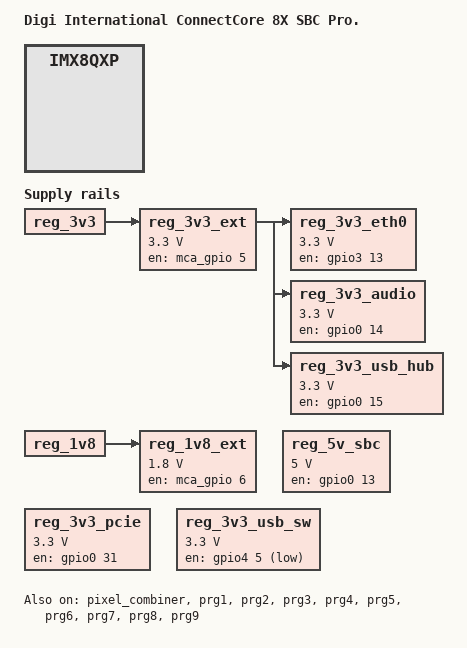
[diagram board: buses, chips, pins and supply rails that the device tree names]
/*
 * Copyright 2018, Digi International Inc.
 *
 * Permission to use, copy, modify, and/or distribute this software for any
 * purpose with or without fee is hereby granted, provided that the above
 * copyright notice and this permission notice appear in all copies.
 * THE SOFTWARE IS PROVIDED "AS IS" AND THE AUTHOR DISCLAIMS ALL WARRANTIES
 * WITH REGARD TO THIS SOFTWARE INCLUDING ALL IMPLIED WARRANTIES OF
 * MERCHANTABILITY AND FITNESS. IN NO EVENT SHALL THE AUTHOR BE LIABLE FOR
 * ANY SPECIAL, DIRECT, INDIRECT, OR CONSEQUENTIAL DAMAGES OR ANY DAMAGES
 * WHATSOEVER RESULTING FROM LOSS OF USE, DATA OR PROFITS, WHETHER IN AN
 * ACTION OF CONTRACT, NEGLIGENCE OR OTHER TORTIOUS ACTION, ARISING OUT OF
 * OR IN CONNECTION WITH THE USE OR PERFORMANCE OF THIS SOFTWARE.
 */

/ {
	model = "Digi International ConnectCore 8X SBC Pro.";
	compatible = "digi,ccimx8x-sbc-pro", "digi,ccimx8x", "fsl,imx8qxp";
	digi,machine,name = "ccimx8x-sbc-pro";

	chosen {
		bootargs = "console=ttyLP2,115200 earlycon=lpuart32,0x5a080000,115200";
		stdout-path = &lpuart2;
	};

	lvds_backlight0: lvds_backlight@0 {
		compatible = "pwm-backlight";
		pwms = <&pwm_mipi_lvds0 0 100000 0>;

		brightness-levels = < 0  1  2  3  4  5  6  7  8  9
				     10 11 12 13 14 15 16 17 18 19
				     20 21 22 23 24 25 26 27 28 29
				     30 31 32 33 34 35 36 37 38 39
				     40 41 42 43 44 45 46 47 48 49
				     50 51 52 53 54 55 56 57 58 59
				     60 61 62 63 64 65 66 67 68 69
				     70 71 72 73 74 75 76 77 78 79
				     80 81 82 83 84 85 86 87 88 89
				     90 91 92 93 94 95 96 97 98 99
				    100>;
		default-brightness-level = <80>;
		power-supply = <&reg_5v_sbc>;
		status = "disabled";
	};

	lvds_backlight1: lvds_backlight@1 {
		compatible = "pwm-backlight";
		pwms = <&pwm_mipi_lvds1 0 100000 0>;

		brightness-levels = < 0  1  2  3  4  5  6  7  8  9
				     10 11 12 13 14 15 16 17 18 19
				     20 21 22 23 24 25 26 27 28 29
				     30 31 32 33 34 35 36 37 38 39
				     40 41 42 43 44 45 46 47 48 49
				     50 51 52 53 54 55 56 57 58 59
				     60 61 62 63 64 65 66 67 68 69
				     70 71 72 73 74 75 76 77 78 79
				     80 81 82 83 84 85 86 87 88 89
				     90 91 92 93 94 95 96 97 98 99
				    100>;
		default-brightness-level = <80>;
		power-supply = <&reg_5v_sbc>;
		status = "disabled";
	};

	regulators {
		compatible = "simple-bus";
		#address-cells = <1>;
		#size-cells = <0>;

		reg_3v3_ext: regulator@1 {
			compatible = "regulator-fixed";
			reg = <1>;
			regulator-name = "3v3_ext";
			regulator-min-microvolt = <3300000>;
			regulator-max-microvolt = <3300000>;
			gpio = <&mca_gpio 5 GPIO_ACTIVE_HIGH>;
			enable-active-high;
			vin-supply = <&reg_3v3>;
		};

		reg_1v8_ext: regulator@2 {
			compatible = "regulator-fixed";
			reg = <2>;
			regulator-name = "1v8_ext";
			regulator-min-microvolt = <1800000>;
			regulator-max-microvolt = <1800000>;
			gpio = <&mca_gpio 6 GPIO_ACTIVE_HIGH>;
			enable-active-high;
			vin-supply = <&reg_1v8>;
		};

		reg_3v3_eth0: regulator@3 {
			pinctrl-names = "default", "sleep";
			pinctrl-0 = <&pinctrl_reg_3v3_eth0>;
			pinctrl-1 = <&pinctrl_reg_3v3_eth0_sleep>;
			compatible = "regulator-fixed";
			reg = <3>;
			regulator-name = "3v3_eth0";
			regulator-min-microvolt = <3300000>;
			regulator-max-microvolt = <3300000>;
			gpio = <&gpio3 13 GPIO_ACTIVE_HIGH>;
			enable-active-high;
			startup-delay-us = <10000>;
			vin-supply = <&reg_3v3_ext>;
		};

		reg_5v_sbc: regulator@4 {
			compatible = "regulator-fixed";
			reg = <4>;
			pinctrl-names = "default";
			pinctrl-0 = <&pinctrl_reg_5v_sbc>;
			regulator-name = "5v_display";
			regulator-min-microvolt = <5000000>;
			regulator-max-microvolt = <5000000>;
			gpio = <&gpio0 13 GPIO_ACTIVE_HIGH>;
			enable-active-high;
		};

		reg_3v3_audio: regulator@5 {
			compatible = "regulator-fixed";
			reg = <5>;
			pinctrl-names = "default";
			pinctrl-0 = <&pinctrl_reg_3v3_aud>;
			regulator-name = "3v3_audio";
			regulator-min-microvolt = <3300000>;
			regulator-max-microvolt = <3300000>;
			gpio = <&gpio0 14 GPIO_ACTIVE_HIGH>;
			enable-active-high;
			startup-delay-us = <1000>;
			vin-supply = <&reg_3v3_ext>;
		};

		reg_3v3_pcie: regulator@6 {
			compatible = "regulator-fixed";
			reg = <6>;
			regulator-name = "vcc";
			regulator-min-microvolt = <3300000>;
			regulator-max-microvolt = <3300000>;
			gpio = <&gpio0 31 GPIO_ACTIVE_HIGH>; /* PCIE_VCC_EN */
			enable-active-high;
			startup-delay-us = <100000>;
		};

		reg_3v3_usb_hub: regulator@7 {
			compatible = "regulator-fixed";
			reg = <7>;
			pinctrl-names = "default";
			pinctrl-0 = <&pinctrl_reg_3v3_usb_hub>;
			regulator-name = "3v3_usb_hub";
			regulator-min-microvolt = <3300000>;
			regulator-max-microvolt = <3300000>;
			gpio = <&gpio0 15 GPIO_ACTIVE_HIGH>;
			enable-active-high;
			vin-supply = <&reg_3v3_ext>;
		};

		reg_3v3_usb_sw: regulator@8 {
			compatible = "regulator-fixed";
			reg = <8>;
			pinctrl-names = "default";
			pinctrl-0 = <&pinctrl_reg_3v3_usb_sw>;
			regulator-name = "3v3_usb_sw";
			regulator-min-microvolt = <3300000>;
			regulator-max-microvolt = <3300000>;
			gpio = <&gpio4 5 GPIO_ACTIVE_LOW>;
		};
	};

	sound_max98089: sound-max98089 {
		compatible = "fsl,imx-audio-max98088";
		model = "imx-max98088";
		cpu-dai = <&sai0>;
		audio-codec = <&max98089>;
		asrc-controller = <&asrc0>;
		audio-routing =
			"Headphone Jack", "HPL",
			"Headphone Jack", "HPR",
			"Ext Spk", "SPKL",
			"Ext Spk", "SPKR",
			"LineOut", "RECL",
			"LineOut", "RECR",
			"Mic1", "MIC1",
			"Mic2", "MIC2",
			"LineInA", "INA1",
			"LineInA", "INA2",
			"LineInB", "INB1",
			"LineInB", "INB2";
		status = "disabled";
	};
};

&asrc0 {
	fsl,asrc-rate  = <48000>;
};

&fec1 {
	pinctrl-names = "default", "sleep";
	pinctrl-0 = <&pinctrl_fec_mdio>,
		    <&pinctrl_fec1_gpio>,
		    <&pinctrl_fec1>;
	pinctrl-1 = <&pinctrl_fec1_gpio_sleep>;
	phy-mode = "rgmii-id";
	phy-handle = <&ethphy1>;
	digi,mdio-lt-supply = <&reg_1v8_ext>;
	phy-supply = <&reg_3v3_eth0>;
	phy-reset-gpios = <&gpio3 18 GPIO_ACTIVE_LOW>;
	phy-reset-duration = <1>;
	digi,phy-reset-in-suspend;
	fsl,magic-packet;
	status = "disabled";

	mdio {
		#address-cells = <1>;
		#size-cells = <0>;

		ethphy0: ethernet-phy@0 {
			compatible = "ethernet-phy-ieee802.3-c22";
			reg = <0>;
			at803x,eee-disabled;
			at803x,vddio-1p8v;
		};

		ethphy1: ethernet-phy@1 {
			compatible = "ethernet-phy-ieee802.3-c22";
			reg = <1>;
			at803x,eee-disabled;
			at803x,vddio-1p8v;
		};
	};
};

&fec2 {
	pinctrl-names = "default", "sleep";
	pinctrl-0 = <&pinctrl_fec2_gpio>,
		    <&pinctrl_fec2>;
	pinctrl-1 = <&pinctrl_fec2_gpio_sleep>;
	phy-mode = "rgmii-id";
	phy-handle = <&ethphy0>;
	digi,mdio-lt-supply = <&reg_1v8_ext>;
	phy-supply = <&reg_3v3_eth0>;
	phy-reset-gpios = <&gpio3 22 GPIO_ACTIVE_LOW>;
	phy-reset-duration = <1>;
	digi,phy-reset-in-suspend;
	fsl,magic-packet;
	status = "disabled";
};

/*
 * CAN0
 * Conflicts with LPUART0 RTS/CTS lines.
 * Before enabling the port you need to configure
 * lpuart0 node as 2 wires.
 */
&flexcan1 {
	pinctrl-names = "default";
	pinctrl-0 = <&pinctrl_flexcan1>;
	xceiver-supply = <&reg_5v_sbc>;
	status = "disabled";
};

/* CAN1 on expansion header */
&flexcan2 {
	pinctrl-names = "default";
	pinctrl-0 = <&pinctrl_flexcan2>;
	xceiver-supply = <&reg_5v_sbc>;
	stby-gpios = <&gpio1 0 GPIO_ACTIVE_HIGH>;
	status = "disabled";
};

/*
 * CAN2 on expansion header.
 * Conflicts with LPUART3 RX/TX lines.
 * Requires signal CAN/RS485# (GPIO3_IO23) to be driven high
 */
&flexcan3 {
	pinctrl-names = "default";
	pinctrl-0 = <&pinctrl_flexcan3>,
		    <&pinctrl_flexcan3_lpuart3_gpios>;
	xceiver-supply = <&reg_5v_sbc>;
	stby-gpios = <&gpio1 2 GPIO_ACTIVE_HIGH>;
	pinctrl-assert-gpios = <&gpio3 23 GPIO_ACTIVE_HIGH>;
	status = "disabled";
};

/*
 * I2C3 connected to Audio codec and USB 3.0 PD PHY.
 * Also available on:
 * - Expansion header
 * - PCIe connector
 * - Parallel Camera connector
 */
&i2c3 {
	#address-cells = <1>;
	#size-cells = <0>;
	clock-frequency = <100000>;
	pinctrl-names = "default";
	pinctrl-0 = <&pinctrl_lpi2c3>;
	status = "disabled";

	max98089: codec@10 {
		compatible = "maxim,max98089";
		reg = <0x10>;
		clocks = <&clk IMX8QXP_AUD_MCLKOUT1>;
		clock-names = "mclk";
		power-domains = <&pd_mclk_out1>;
		vcc-supply = <&reg_3v3_audio>;
		dvdd-supply = <&reg_1v8_ext>;
		assigned-clocks = <&clk IMX8QXP_AUD_PLL0_DIV>,
				  <&clk IMX8QXP_AUD_ACM_AUD_PLL_CLK0_DIV>,
				  <&clk IMX8QXP_AUD_ACM_AUD_REC_CLK0_DIV>,
				  <&clk IMX8QXP_AUD_MCLKOUT1>;
		assigned-clock-rates = <786432000>, <49152000>, <12288000>, <12288000>;
		status = "disabled";
	};

	/* CSI Parallel Camera */
	ov5640: ov5640@3c {
		compatible = "ovti,ov5640_v3";
		reg = <0x3c>;
		pinctrl-names = "default";
		pinctrl-0 = <&pinctrl_parallel_csi>;
		clocks = <&clk IMX8QXP_PARALLEL_CSI_MISC0_CLK>;
		clock-names = "csi_mclk";
		pwn-gpios = <&gpio3 2 GPIO_ACTIVE_LOW>;
		rst-gpios = <&gpio3 3 GPIO_ACTIVE_HIGH>;
		csi_id = <0>;
		mclk = <24000000>;
		mclk_source = <0>;
		status = "disabled";

		port {
			ov5640_ep: endpoint {
				remote-endpoint = <&parallel_csi_ep>;
			};
		};
	};

	typec_ptn5110: typec@52 {
		compatible = "usb,tcpci";
		pinctrl-names = "default";
		pinctrl-0 = <&pinctrl_typec>;
		reg = <0x52>;
		interrupt-parent = <&gpio4>;
		interrupts = <4 IRQ_TYPE_LEVEL_LOW>;
		ss-sel-gpios = <&gpio4 6 GPIO_ACTIVE_LOW>;
		src-pdos = <0x380190c8 0x3803c0c8>;
		port-type = "drp";
		sink-disable;
		default-role = "source";
		status = "okay";
	};
};

&cameradev {
	parallel_csi;
};

&parallel_csi {
	#address-cells = <1>;
	#size-cells = <0>;
	status = "disabled";

	port@0 {
		reg = <0>;
		parallel_csi_ep: endpoint {
			remote-endpoint = <&ov5640_ep>;
		};
	};
};

&isi_0 {
	interface = <6 0 2>;	/* INPUT: 6-PARALLEL CSI */
	parallel_csi;
};

&isi_1 {
	interface = <2 0 2>;	/* INPUT: 2-MIPI CSI0 */
};

/* MIPI-DSI0 I2C available on LVDS0 connector */
&i2c0_mipi_lvds0 {
	#address-cells = <1>;
	#size-cells = <0>;
	pinctrl-names = "default", "gpio";
	pinctrl-0 = <&pinctrl_i2c0_mipi_lvds0>;
	pinctrl-1 = <&pinctrl_i2c0_lvds0_gpio>;
	scl-gpios = <&gpio1 25 GPIO_ACTIVE_HIGH>;
	sda-gpios = <&gpio1 26 GPIO_ACTIVE_HIGH>;
	clock-frequency = <100000>;
	status = "disabled";

	fusion_touch: fusion@10 {
		compatible = "touchrev,fusion-touch";
		reg = <0x10>;
		interrupt-parent = <&gpio3>;
		/* LVDS0 interrupt */
		interrupts = <20 IRQ_TYPE_EDGE_FALLING>;
		/* LVDS1 interrupt */
		//interrupts = <19 IRQ_TYPE_EDGE_FALLING>;
		status = "disabled";
	};

	/*
	 * On the CC8X SBC, an inconsistent reset sequence makes
	 * the Goodix display's touch controller respond to two I2C
	 * addresses: 0x14 and 0x5D. To make sure the touchscreen
	 * works every time, the touch controller's description must
	 * be duplicated for both addresses.
	 */
	lvds0_goodix_touch1: gt9271@14 {
		compatible = "goodix,gt9271";
		reg = <0x14>;
		/* Interrupt for LVDS0 */
		interrupt-parent = <&gpio3>;
		interrupts = <20 IRQ_TYPE_EDGE_FALLING>;
		irq-gpios = <&gpio3 20 GPIO_ACTIVE_LOW>;
		reload-fw-on-resume;
		skip-firmware-request;
		status = "disabled";
	};

	lvds0_goodix_touch2: gt9271@5D {
		compatible = "goodix,gt9271";
		reg = <0x5D>;
		/* Interrupt for LVDS0 */
		interrupt-parent = <&gpio3>;
		interrupts = <20 IRQ_TYPE_EDGE_FALLING>;
		irq-gpios = <&gpio3 20 GPIO_ACTIVE_LOW>;
		reload-fw-on-resume;
		skip-firmware-request;
		status = "disabled";
	};
};

/* MIPI-CSI0 I2C available on MIPI Camera connector */
&i2c0_csi0 {
	#address-cells = <1>;
	#size-cells = <0>;
	pinctrl-names = "default", "gpio";
	pinctrl-0 = <&pinctrl_csi0_lpi2c0>;
	pinctrl-1 = <&pinctrl_csi0_lpi2c0_gpio>;
	scl-gpios = <&gpio3 6 GPIO_ACTIVE_HIGH>;
	sda-gpios = <&gpio3 5 GPIO_ACTIVE_HIGH>;
	clock-frequency = <100000>;
	status = "disabled";

	/* MIPI-CSI2 camera */
	ov5640_mipi: ov5640_mipi@3c {
		compatible = "ovti,ov5640_mipi_v3";
		reg = <0x3c>;
		pinctrl-names = "default";
		pinctrl-0 = <&pinctrl_mipi>;
		clocks = <&clk IMX8QXP_24MHZ>;
		clock-names = "csi_mclk";
		csi_id = <0>;
		rst-gpios = <&gpio3 21 GPIO_ACTIVE_LOW>;
		mclk = <24000000>;
		mclk_source = <0>;
		mipi_csi;
		status = "disabled";

		port {
			ov5640_mipi_ep: endpoint {
				remote-endpoint = <&mipi_csi0_ep>;
			};
		};
	};
};

&mipi_csi_0 {
	#address-cells = <1>;
	#size-cells = <0>;
	status = "disabled";

	/* Camera 0  MIPI CSI-2 (CSIS0) */
	port@0 {
		reg = <0>;
		mipi_csi0_ep: endpoint {
			remote-endpoint = <&ov5640_mipi_ep>;
			data-lanes = <1 2>;
		};
	};
};

&ldb1 {
	pinctrl-names = "default";
	pinctrl-0 = <&pinctrl_lvds0>;
	status = "disabled";

	lvds0: lvds-channel@0 {
		fsl,data-mapping = "jeida";
		fsl,data-width = <24>;
		digi,bits-per-pixel = <16>;
		status = "disabled";

		display-timings {
			native-mode = <&lvds0_g101evn010_1>;

			/* AUO G101EVN01.0 */
			lvds0_g101evn010_1: timing@0 {
				clock-frequency = <68930000>;
				hactive = <1280>;
				vactive = <800>;
				hfront-porch = <120>;
				hback-porch = <0>;
				hsync-len = <8>;
				vback-porch = <10>;
				vfront-porch = <0>;
				vsync-len = <6>;
				hsync-active = <1>;
				vsync-active = <1>;
				de-active = <1>;
				pixelclk-active = <0>;
			};

			/* Fusion 10" F10A-0102 */
			lvds0_hsd101pfw2_1: timing@1 {
				clock-frequency = <45000000>;
				hactive = <1024>;
				vactive = <600>;
				hfront-porch = <0>;
				hback-porch = <0>;
				hsync-len = <176>;
				vback-porch = <0>;
				vfront-porch = <2>;
				vsync-len = <23>;
			};
		};
	};
};

&ldb1_phy {
	status = "disabled";
};

/* MIPI-DSI1 I2C available on LVDS1 connector */
&i2c0_mipi_lvds1 {
	#address-cells = <1>;
	#size-cells = <0>;
	pinctrl-names = "default", "gpio";
	pinctrl-0 = <&pinctrl_i2c0_mipi_lvds1>;
	pinctrl-1 = <&pinctrl_i2c0_lvds1_gpio>;
	scl-gpios = <&gpio1 29 GPIO_ACTIVE_HIGH>;
	sda-gpios = <&gpio1 30 GPIO_ACTIVE_HIGH>;
	clock-frequency = <100000>;
	status = "disabled";

	/*
	 * On the CC8X SBC, an inconsistent reset sequence makes
	 * the Goodix display's touch controller respond to two I2C
	 * addresses: 0x14 and 0x5D. To make sure the touchscreen
	 * works every time, the touch controller's description must
	 * be duplicated for both addresses.
	 */
	lvds1_goodix_touch1: gt9271@14 {
		compatible = "goodix,gt9271";
		reg = <0x14>;
		/* Interrupt for LVDS1 */
		interrupt-parent = <&gpio3>;
		interrupts = <19 IRQ_TYPE_EDGE_FALLING>;
		irq-gpios = <&gpio3 19 GPIO_ACTIVE_LOW>;
		reload-fw-on-resume;
		skip-firmware-request;
		status = "disabled";
	};

	lvds1_goodix_touch2: gt9271@5D {
		compatible = "goodix,gt9271";
		reg = <0x5D>;
		/* Interrupt for LVDS1 */
		interrupt-parent = <&gpio3>;
		interrupts = <19 IRQ_TYPE_EDGE_FALLING>;
		irq-gpios = <&gpio3 19 GPIO_ACTIVE_LOW>;
		reload-fw-on-resume;
		skip-firmware-request;
		status = "disabled";
	};
};

&ldb2 {
	pinctrl-names = "default";
	pinctrl-0 = <&pinctrl_lvds1>;
	status = "disabled";

	lvds1: lvds-channel@0 {
		fsl,data-mapping = "jeida";
		fsl,data-width = <24>;
		digi,bits-per-pixel = <16>;
		status = "disabled";

		display-timings {
			native-mode = <&lvds1_g101evn010_1>;

			/* AUO G101EVN01.0 */
			lvds1_g101evn010_1: timing@0 {
				clock-frequency = <68930000>;
				hactive = <1280>;
				vactive = <800>;
				hfront-porch = <120>;
				hback-porch = <0>;
				hsync-len = <8>;
				vback-porch = <10>;
				vfront-porch = <0>;
				vsync-len = <6>;
				hsync-active = <1>;
				vsync-active = <1>;
				de-active = <1>;
				pixelclk-active = <0>;
			};

			/* Fusion 10" F10A-0102 */
			lvds1_hsd101pfw2_1: timing@1 {
				clock-frequency = <45000000>;
				hactive = <1024>;
				vactive = <600>;
				hfront-porch = <0>;
				hback-porch = <0>;
				hsync-len = <176>;
				vback-porch = <0>;
				vfront-porch = <2>;
				vsync-len = <23>;
			};
		};
	};
};

&ldb2_phy {
	status = "disabled";
};

/* LPSPI0 on expansion header */
&lpspi0 {
	#address-cells = <1>;
	#size-cells = <0>;
	pinctrl-names = "default";
	pinctrl-0 = <&pinctrl_lpspi0>;
	status = "disabled";
};

/* LPUART0 on expansion header */
&lpuart0 {
	/* RTS/CTS lines multiplexed with CAN0 */
	pinctrl-names = "default";
	pinctrl-0 = <&pinctrl_lpuart0_4wires>;
	status = "disabled";
};

/* Console */
&lpuart2 {
	pinctrl-names = "default";
	pinctrl-0 = <&pinctrl_lpuart2>;
	status = "disabled";
};

/*
 * LPUART3 on expansion header.
 * Conflicts with CAN2.
 * Requires signal CAN/RS485# (GPIO3_IO23) to be driven low
 */
&lpuart3 {
	pinctrl-names = "default";
	pinctrl-0 = <&pinctrl_lpuart3>,
		    <&pinctrl_flexcan3_lpuart3_gpios>;
	pinctrl-assert-gpios = <&gpio3 23 GPIO_ACTIVE_LOW>;
	/* Enable RS485 mode */
	linux,rs485-enabled-at-boot-time;
	digi,rts-gpio = <&gpio3 24 GPIO_ACTIVE_HIGH>;
	status = "disabled";
};

&pd_dma_lpuart2 {
	debug_console;
};

/* PCIE (Mini Card) */
&pcieb {
	vpcie-supply = <&reg_3v3_pcie>;
};

&pixel_combiner {
	status = "okay";
};

&prg1 {
	status = "okay";
};

&prg2 {
	status = "okay";
};

&prg3 {
	status = "okay";
};

&prg4 {
	status = "okay";
};

&prg5 {
	status = "okay";
};

&prg6 {
	status = "okay";
};

&prg7 {
	status = "okay";
};

&prg8 {
	status = "okay";
};

&prg9 {
	status = "okay";
};

/*
 * Remove MCA PWM node that uses MCA_IO5 and MCA_IO6 pads, since these lines
 * are being used as GPIOs for enabling voltage regulators on SBC Pro board.
 */
/delete-node/ &{/i2c@5a800000/mca@63/pwms/pwm@1};

/* PWM signal on Expansion connector: SPI0_CS1 (conflicts with SPI0 CS1) */
&pwm_adma_lcdif {
	pinctrl-names = "default";
	pinctrl-0 = <&pinctrl_pwm_adma>;
	status = "disabled";
};

&sai0 {
	assigned-clocks = <&clk IMX8QXP_AUD_PLL0_DIV>,
			  <&clk IMX8QXP_AUD_ACM_AUD_PLL_CLK0_DIV>,
			  <&clk IMX8QXP_AUD_ACM_AUD_REC_CLK0_DIV>,
			  <&clk IMX8QXP_AUD_SAI_0_MCLK>;
	assigned-clock-rates = <786432000>, <49152000>, <12288000>, <49152000>;
	pinctrl-names = "default";
	pinctrl-0 = <&pinctrl_sai0>;
	status = "disabled";
};

/* USB_OTG1 connected to usb hub */
&usbotg1 {
	pinctrl-names = "default";
	pinctrl-0 = <&pinctrl_usbotg1>;

	vbus-supply = <&reg_3v3_usb_hub>;
	fsl,reset-gpio = <&gpio1 3 GPIO_ACTIVE_LOW>;
	dr_mode = "host";
	disable-over-current;
	status = "disabled";
};

/* USB_OTG2/USB_SS3 */
&usbotg3 {
	dr_mode = "otg";
	extcon = <&typec_ptn5110>;
	status = "disabled";
};

/* usbotg3 phy */
&usbphynop1 {
	/*
	 * USB 3.0 on TypeC connector only works on SBC Pro versions >= 3.
	 * If using an earlier version of the SBC Pro, comment this line
	 * to have the port work as USB 2.0 on the TypeC connector.
	 */

	 vcc-supply = <&reg_3v3_usb_sw>;
};

/* Micro SD card */
&usdhc2 {
	pinctrl-names = "default", "state_100mhz", "state_200mhz";
	pinctrl-0 = <&pinctrl_usdhc2>, <&pinctrl_usdhc2_gpio>;
	pinctrl-1 = <&pinctrl_usdhc2_100mhz>, <&pinctrl_usdhc2_gpio>;
	pinctrl-2 = <&pinctrl_usdhc2_200mhz>, <&pinctrl_usdhc2_gpio>;
	bus-width = <4>;
	no-1-8-v;
	cd-gpios = <&gpio4 22 GPIO_ACTIVE_HIGH>;
	status = "disabled";
};

/* IOMUX */
&iomuxc {
	pinctrl_lpspi0: lpspi0grp {
		fsl,pins = <
			SC_P_SPI0_SCK_ADMA_SPI0_SCK	0x0600004c
			SC_P_SPI0_SDO_ADMA_SPI0_SDO	0x0600004c
			SC_P_SPI0_SDI_ADMA_SPI0_SDI	0x0600004c
			SC_P_SPI0_CS0_ADMA_SPI0_CS0	0x0600004c
			SC_P_SPI0_CS1_ADMA_SPI0_CS1	0x0600004c
		>;
	};

	pinctrl_lpuart0_2wires: lpuart0grp_2wires {
		fsl,pins = <
			SC_P_UART0_RX_ADMA_UART0_RX		0x06000020
			SC_P_UART0_TX_ADMA_UART0_TX		0x06000020
		>;
	};

	pinctrl_lpuart0_4wires: lpuart0grp_4wires {
		fsl,pins = <
			SC_P_UART0_RX_ADMA_UART0_RX		0x06000020
			SC_P_UART0_TX_ADMA_UART0_TX		0x06000020
			SC_P_FLEXCAN0_RX_ADMA_UART0_RTS_B	0x06000020
			SC_P_FLEXCAN0_TX_ADMA_UART0_CTS_B	0x06000020
		>;
	};

	pinctrl_lpuart2: lpuart2grp {
		fsl,pins = <
			SC_P_UART2_TX_ADMA_UART2_TX	0x06000020
			SC_P_UART2_RX_ADMA_UART2_RX	0x06000020
		>;
	};

	pinctrl_lpuart3: lpuart3grp {
		fsl,pins = <
			SC_P_FLEXCAN2_TX_ADMA_UART3_TX		0x06000020
			SC_P_FLEXCAN2_RX_ADMA_UART3_RX		0x06000020
			/* RS485 RE#/DE line */
			SC_P_QSPI0B_SS1_B_LSIO_GPIO3_IO24	0x06000040
		>;
	};

	pinctrl_lvds0: lvds0grp {
		fsl,pins = <
			/* LVDS0 touch interrupt */
			SC_P_QSPI0B_DATA2_LSIO_GPIO3_IO20	0x06000020
			/* LVDS0 PWM backlight */
			SC_P_MIPI_DSI0_GPIO0_00_MIPI_DSI0_PWM0_OUT	0x00000020
		>;
	};

	pinctrl_lvds1: lvds1grp {
		fsl,pins = <
			/* LVDS1 touch interrupt */
			SC_P_QSPI0B_DATA1_LSIO_GPIO3_IO19       0x06000020
			/* LVDS1 PWM backlight */
			SC_P_MIPI_DSI1_GPIO0_00_MIPI_DSI1_PWM0_OUT 0x00000020
		>;
	};

	/* Ethernet PHYs regulator */
	pinctrl_reg_3v3_eth0: pinctrl_reg_3v3_eth0grp {
		fsl,pins = <
			/* PHY power */
			SC_P_QSPI0A_DQS_LSIO_GPIO3_IO13		0x06000021
		>;
	};

	pinctrl_reg_3v3_eth0_sleep: pinctrl_reg_3v3_eth0grp_sleep {
		fsl,pins = <
			/* PHY power (lp_config=LATCH) */
			SC_P_QSPI0A_DQS_LSIO_GPIO3_IO13		0x07800021
		>;
	};

	/* FEC shared MDIO bus */
	pinctrl_fec_mdio: fecmdiogrp {
		fsl,pins = <
			SC_P_ENET0_MDC_CONN_ENET0_MDC		0x06000020
			SC_P_ENET0_MDIO_CONN_ENET0_MDIO		0x06000020
		>;
	};

	pinctrl_fec1_gpio: fec1gpiogrp {
		fsl,pins = <
			/* PHY reset */
			SC_P_QSPI0B_DATA0_LSIO_GPIO3_IO18	0x06000021
			/* PHY interrupt */
			SC_P_MIPI_DSI0_GPIO0_01_LSIO_GPIO1_IO28	0x06000021
		>;
	};

	pinctrl_fec1_gpio_sleep: fec1gpiosleepgrp {
		fsl,pins = <
			/* PHY reset */
			SC_P_QSPI0B_DATA0_LSIO_GPIO3_IO18	0x06000041
		>;
	};

	pinctrl_fec1: fec1grp {
		fsl,pins = <
			/*
			 * The SCFW of B0 defaults ENET0 domains to 2.5V:
			 * - VDD_ENET0_1P8_2P5_3P3
			 * - VDD_ENET0_VSELECT_1P8_2P5_3P3
			 * Turn the domains back to 1.8/3.3V detector
			 */
			SC_P_COMP_CTL_GPIO_1V8_3V3_ENET_ENETB0_PAD	0x000014a0
			SC_P_COMP_CTL_GPIO_1V8_3V3_ENET_ENETB1_PAD	0x000014a0

			SC_P_ENET0_RGMII_TX_CTL_CONN_ENET0_RGMII_TX_CTL	0x00000061
			SC_P_ENET0_RGMII_TXC_CONN_ENET0_RGMII_TXC	0x00000061
			SC_P_ENET0_RGMII_TXD0_CONN_ENET0_RGMII_TXD0	0x00000061
			SC_P_ENET0_RGMII_TXD1_CONN_ENET0_RGMII_TXD1	0x00000061
			SC_P_ENET0_RGMII_TXD2_CONN_ENET0_RGMII_TXD2	0x00000061
			SC_P_ENET0_RGMII_TXD3_CONN_ENET0_RGMII_TXD3	0x00000061
			SC_P_ENET0_RGMII_RXC_CONN_ENET0_RGMII_RXC	0x00000061
			SC_P_ENET0_RGMII_RX_CTL_CONN_ENET0_RGMII_RX_CTL	0x00000061
			SC_P_ENET0_RGMII_RXD0_CONN_ENET0_RGMII_RXD0	0x00000061
			SC_P_ENET0_RGMII_RXD1_CONN_ENET0_RGMII_RXD1	0x00000061
			SC_P_ENET0_RGMII_RXD2_CONN_ENET0_RGMII_RXD2	0x00000061
			SC_P_ENET0_RGMII_RXD3_CONN_ENET0_RGMII_RXD3	0x00000061
		>;
	};

	pinctrl_fec2_gpio: fec2gpiogrp {
		fsl,pins = <
			/* PHY reset */
			SC_P_QSPI0B_DQS_LSIO_GPIO3_IO22		0x06000021
			/* PHY interrupt */
			SC_P_MIPI_DSI1_GPIO0_01_LSIO_GPIO2_IO00	0x06000021
		>;
	};

	pinctrl_fec2_gpio_sleep: fec2gpiosleepgrp {
		fsl,pins = <
			/* PHY reset */
			SC_P_QSPI0B_DQS_LSIO_GPIO3_IO22		0x06000041
		>;
	};

	pinctrl_fec2: fec2grp {
		fsl,pins = <
			/*
			 * The SCFW of B0 defaults ENET1 domain to 2.5V:
			 * - VDD_ESAI_SPDIF_1P8_2P5_3P3
			 * Turn the domain back to 1.8/3.3V detector
			 */
			SC_P_COMP_CTL_GPIO_1V8_3V3_GPIORHB_PAD		0x000514a0

			SC_P_ESAI0_SCKR_CONN_ENET1_RGMII_TX_CTL		0x00000060
			SC_P_ESAI0_FSR_CONN_ENET1_RGMII_TXC		0x00000060
			SC_P_ESAI0_TX4_RX1_CONN_ENET1_RGMII_TXD0	0x00000060
			SC_P_ESAI0_TX5_RX0_CONN_ENET1_RGMII_TXD1	0x00000060
			SC_P_ESAI0_FST_CONN_ENET1_RGMII_TXD2		0x00000060
			SC_P_ESAI0_SCKT_CONN_ENET1_RGMII_TXD3		0x00000060
			SC_P_ESAI0_TX0_CONN_ENET1_RGMII_RXC		0x00000060
			SC_P_SPDIF0_TX_CONN_ENET1_RGMII_RX_CTL		0x00000060
			SC_P_SPDIF0_RX_CONN_ENET1_RGMII_RXD0		0x00000060
			SC_P_ESAI0_TX3_RX2_CONN_ENET1_RGMII_RXD1	0x00000060
			SC_P_ESAI0_TX2_RX3_CONN_ENET1_RGMII_RXD2	0x00000060
			SC_P_ESAI0_TX1_CONN_ENET1_RGMII_RXD3		0x00000060
		>;
	};

	pinctrl_flexcan1: flexcan0grp {
		fsl,pins = <
			SC_P_FLEXCAN0_TX_ADMA_FLEXCAN0_TX		0x21
			SC_P_FLEXCAN0_RX_ADMA_FLEXCAN0_RX		0x21
		>;
	};

	pinctrl_flexcan2: flexcan1grp {
		fsl,pins = <
			SC_P_FLEXCAN1_TX_ADMA_FLEXCAN1_TX		0x21
			SC_P_FLEXCAN1_RX_ADMA_FLEXCAN1_RX		0x21
			SC_P_SPI2_CS0_LSIO_GPIO1_IO00                   0x06000020
		>;
	};

	pinctrl_flexcan3: flexcan2grp {
		fsl,pins = <
			SC_P_FLEXCAN2_TX_ADMA_FLEXCAN2_TX		0x21
			SC_P_FLEXCAN2_RX_ADMA_FLEXCAN2_RX		0x21
			SC_P_SPI2_SDI_LSIO_GPIO1_IO02                   0x06000020
		>;
	};

	pinctrl_flexcan3_lpuart3_gpios: flexcan2lpuart3gpios-grp {
		fsl,pins = <
			SC_P_QSPI0B_SS0_B_LSIO_GPIO3_IO23 0x06000060
		>;
	};

	pinctrl_i2c0_mipi_lvds0: mipi_lvds0_i2c0_grp {
		fsl,pins = <
			SC_P_MIPI_DSI0_I2C0_SCL_MIPI_DSI0_I2C0_SCL 0xc6000020
			SC_P_MIPI_DSI0_I2C0_SDA_MIPI_DSI0_I2C0_SDA 0xc6000020
		>;
	};

	pinctrl_i2c0_lvds0_gpio: i2c0_lvds0_gpio_grp {
		fsl,pins = <
			SC_P_MIPI_DSI0_I2C0_SCL_LSIO_GPIO1_IO25 0xc6000020
			SC_P_MIPI_DSI0_I2C0_SDA_LSIO_GPIO1_IO26 0xc6000020
		>;
	};

	pinctrl_i2c0_mipi_lvds1: mipi_lvds1_i2c0_grp {
		fsl,pins = <
			SC_P_MIPI_DSI1_I2C0_SCL_MIPI_DSI1_I2C0_SCL 0xc6000020
			SC_P_MIPI_DSI1_I2C0_SDA_MIPI_DSI1_I2C0_SDA 0xc6000020
		>;
	};

	pinctrl_i2c0_lvds1_gpio: i2c0_lvds1_gpio_grp {
		fsl,pins = <
			SC_P_MIPI_DSI1_I2C0_SCL_LSIO_GPIO1_IO29 0xc6000020
			SC_P_MIPI_DSI1_I2C0_SDA_LSIO_GPIO1_IO30 0xc6000020
		>;
	};

	pinctrl_csi0_lpi2c0: csi0lpi2c0grp {
		fsl,pins = <
			SC_P_MIPI_CSI0_I2C0_SCL_MIPI_CSI0_I2C0_SCL	0xc2000020
			SC_P_MIPI_CSI0_I2C0_SDA_MIPI_CSI0_I2C0_SDA	0xc2000020
		>;
	};

	pinctrl_csi0_lpi2c0_gpio: csi0lpi2c0gpiogrp {
		fsl,pins = <
			SC_P_MIPI_CSI0_I2C0_SCL_LSIO_GPIO3_IO05	0xc2000020
			SC_P_MIPI_CSI0_I2C0_SDA_LSIO_GPIO3_IO06	0xc2000020
		>;
	};

	pinctrl_lpi2c3: lpi2c3grp {
		fsl,pins = <
			SC_P_SPI3_CS1_ADMA_I2C3_SCL	0x06000020
			SC_P_MCLK_IN1_ADMA_I2C3_SDA	0x06000020
		>;
	};

	pinctrl_parallel_csi: parallelcsigrp {
		fsl,pins = <
			SC_P_CSI_D00_CI_PI_D02		0xC0000041
			SC_P_CSI_D01_CI_PI_D03		0xC0000041
			SC_P_CSI_D02_CI_PI_D04		0xC0000041
			SC_P_CSI_D03_CI_PI_D05		0xC0000041
			SC_P_CSI_D04_CI_PI_D06		0xC0000041
			SC_P_CSI_D05_CI_PI_D07		0xC0000041
			SC_P_CSI_D06_CI_PI_D08		0xC0000041
			SC_P_CSI_D07_CI_PI_D09		0xC0000041

			SC_P_CSI_MCLK_CI_PI_MCLK	0xC0000041
			SC_P_CSI_PCLK_CI_PI_PCLK	0xC0000041
			SC_P_CSI_HSYNC_CI_PI_HSYNC	0xC0000041
			SC_P_CSI_VSYNC_CI_PI_VSYNC	0xC0000041
			/* CSI Camera enable */
			SC_P_CSI_EN_LSIO_GPIO3_IO02	0xC0000041
			/* CSI Camera reset */
			SC_P_CSI_RESET_LSIO_GPIO3_IO03	0xC0000041
		>;
	};

	/* PCIE (Mini Card) */
	pinctrl_pcieb_mini_card: pcieagrp_mini_card {
		fsl,pins = <
			/* PCIE_RESET_N */
			SC_P_QSPI0A_SCLK_LSIO_GPIO3_IO16	0x06000021
			/* PCIE_DIS_N */
			SC_P_SAI1_RXC_LSIO_GPIO0_IO30		0x06000061
			/* PCIE_WAKE_N */
			SC_P_SAI1_RXD_LSIO_GPIO0_IO29		0x04000021
		>;
	};

	pinctrl_pwm_adma: pwm_adma_grp {
		fsl,pins = <
			/* PWM on Expansion connector */
			SC_P_SPI0_CS1_ADMA_LCD_PWM0_OUT		0x00000060
		>;
	};

	pinctrl_reg_3v3_aud: reg_3v3_aud_grp {
		fsl,pins = <
			/* Audio power enable */
			SC_P_SPI3_SDO_LSIO_GPIO0_IO14		0x06000020
		>;
	};

	pinctrl_reg_5v_sbc: reg_5v_sbc_grp {
		fsl,pins = <
			/* 5V regulator power enable */
			SC_P_SPI3_SCK_LSIO_GPIO0_IO13		0x06000020
		>;
	};

	pinctrl_reg_3v3_pcie: reg_3v3_pcie_grp {
		fsl,pins = <
			/* Voltage for PCIe domain (PCIE_VCC_EN) */
			SC_P_SAI1_RXFS_LSIO_GPIO0_IO31		0x06000021
		>;
	};

	pinctrl_reg_3v3_pcie_sleep: reg_3v3_pcie_sleep_grp {
		fsl,pins = <
			/* PCIE_VCC_EN (lp_config=LATCH) */
			SC_P_SAI1_RXFS_LSIO_GPIO0_IO31          0x07800021
		>;
	};

	pinctrl_reg_3v3_usb_hub: reg_3v3_usb_hub_grp {
		fsl,pins = <
			/* GPIO0_15 USB hub power enable */
			SC_P_SPI3_SDI_LSIO_GPIO0_IO15		0x06000020
		>;
	};

	pinctrl_reg_3v3_usb_sw: reg_3v3_usb_sw_grp {
		fsl,pins = <
			/* GPIO4_5 USB3 switch power enable */
			SC_P_USB_SS3_TC2_LSIO_GPIO4_IO05	0x06000020
		>;
	};

	pinctrl_sai0: sai0grp {
		fsl,pins = <
			SC_P_SAI0_RXD_ADMA_SAI0_RXD		0x06000040
			SC_P_SAI0_TXD_ADMA_SAI0_TXD		0x06000060
			SC_P_SAI0_TXFS_ADMA_SAI0_TXFS		0x06000040
			SC_P_SAI0_TXC_ADMA_SAI0_TXC		0x06000040
			SC_P_SPI3_CS0_ADMA_ACM_MCLK_OUT1	0x06000040
		>;
	};

	pinctrl_usbotg1: usbotg1grp {
		fsl,pins = <
			/* USB hub reset */
			SC_P_SPI2_SCK_LSIO_GPIO1_IO03		0x06000020
		>;
	};

	pinctrl_typec: typecgrp {
		fsl,pins = <
			/* USB3 switch bus selector (SEL) */
			SC_P_USB_SS3_TC3_LSIO_GPIO4_IO06	0x06000021
			/* PTN5110 irq line (ALERT) */
			SC_P_USB_SS3_TC1_LSIO_GPIO4_IO04	0x06000021
			/* PTN5110 debug irq (DBG_ACC) */
			SC_P_USB_SS3_TC0_LSIO_GPIO4_IO03	0x06000021
		>;
	};

	pinctrl_usdhc2_gpio: usdhc2gpiogrp {
		fsl,pins = <
			/* Card detect */
			SC_P_USDHC1_CD_B_LSIO_GPIO4_IO22	0x06000021
		>;
	};

	pinctrl_usdhc2: usdhc2grp {
		fsl,pins = <
			SC_P_USDHC1_CLK_CONN_USDHC1_CLK		0x06000041
			SC_P_USDHC1_CMD_CONN_USDHC1_CMD		0x00000021
			SC_P_USDHC1_DATA0_CONN_USDHC1_DATA0	0x00000021
			SC_P_USDHC1_DATA1_CONN_USDHC1_DATA1	0x00000021
			SC_P_USDHC1_DATA2_CONN_USDHC1_DATA2	0x00000021
			SC_P_USDHC1_DATA3_CONN_USDHC1_DATA3	0x00000021
		>;
	};

	pinctrl_usdhc2_100mhz: usdhc2grp100mhz {
		fsl,pins = <
			SC_P_USDHC1_CLK_CONN_USDHC1_CLK		0x06000041
			SC_P_USDHC1_CMD_CONN_USDHC1_CMD		0x00000021
			SC_P_USDHC1_DATA0_CONN_USDHC1_DATA0	0x00000021
			SC_P_USDHC1_DATA1_CONN_USDHC1_DATA1	0x00000021
			SC_P_USDHC1_DATA2_CONN_USDHC1_DATA2	0x00000021
			SC_P_USDHC1_DATA3_CONN_USDHC1_DATA3	0x00000021
		>;
	};

	pinctrl_usdhc2_200mhz: usdhc2grp200mhz {
		fsl,pins = <
			SC_P_USDHC1_CLK_CONN_USDHC1_CLK		0x06000041
			SC_P_USDHC1_CMD_CONN_USDHC1_CMD		0x00000021
			SC_P_USDHC1_DATA0_CONN_USDHC1_DATA0	0x00000021
			SC_P_USDHC1_DATA1_CONN_USDHC1_DATA1	0x00000021
			SC_P_USDHC1_DATA2_CONN_USDHC1_DATA2	0x00000021
			SC_P_USDHC1_DATA3_CONN_USDHC1_DATA3	0x00000021
		>;
	};

	pinctrl_mipi: mipi {
		fsl,pins = <
			SC_P_QSPI0B_DATA3_LSIO_GPIO3_IO21 0xC0000041
		>;
	};
};
